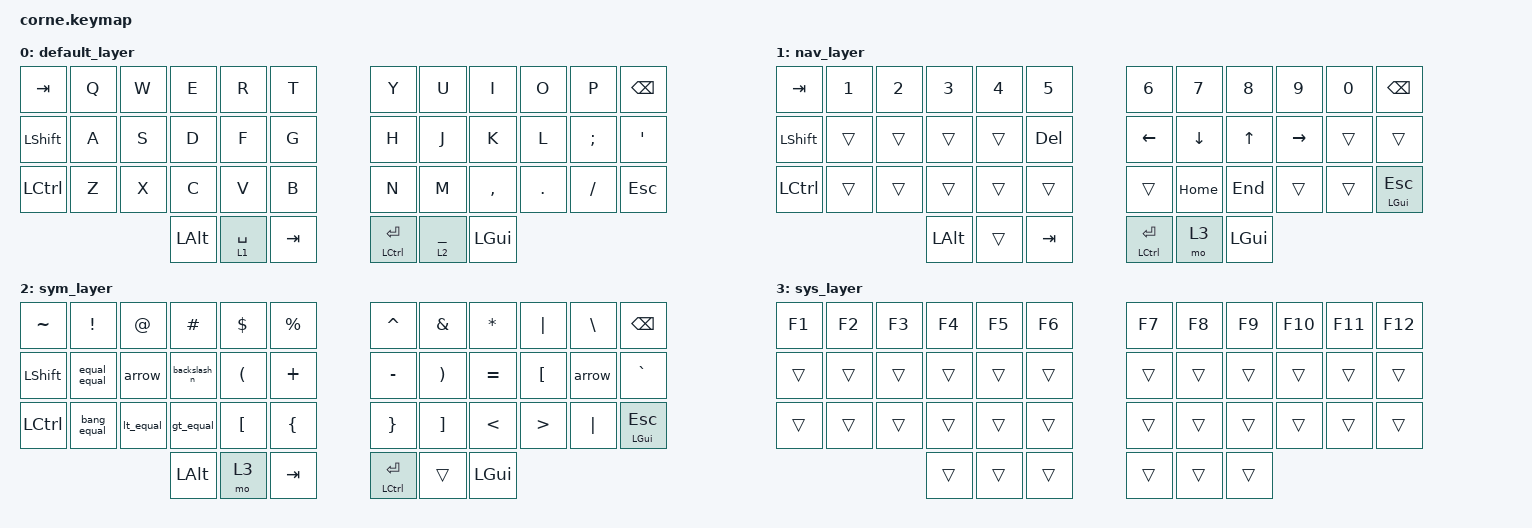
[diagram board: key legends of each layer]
#include <behaviors.dtsi>
#include <dt-bindings/zmk/keys.h>

/ {
    macros {
        arrow: arrow {
            compatible = "zmk,behavior-macro";
            #binding-cells = <0>;
            bindings = <&kp EQUAL &kp GT>;
        };

        backslash_n: backslash_n {
            compatible = "zmk,behavior-macro";
            #binding-cells = <0>;
            bindings = <&kp BACKSLASH &kp N>;
            label = "BACKSLASH_N";
        };

        equal_equal: equal_equal {
            compatible = "zmk,behavior-macro";
            #binding-cells = <0>;
            bindings = <&kp EQUAL &kp EQUAL>;
            label = "EQUAL_EQUAL";
        };

        bang_equal: bang_equal {
            compatible = "zmk,behavior-macro";
            #binding-cells = <0>;
            bindings = <&kp EXCLAMATION &kp EQUAL>;
            label = "BANG_EQUAL";
        };

        gt_equal: gt_equal {
            compatible = "zmk,behavior-macro";
            #binding-cells = <0>;
            bindings = <&kp GREATER_THAN &kp EQUAL>;
            label = "GT_EQUAL";
        };

        lt_equal: lt_equal {
            compatible = "zmk,behavior-macro";
            #binding-cells = <0>;
            bindings = <&kp LESS_THAN &kp EQUAL>;
            label = "LT_EQUAL";
        };
    };

    keymap {
        compatible = "zmk,keymap";

        default_layer {
            bindings = <
&kp TAB     &kp Q  &kp W  &kp E         &kp R        &kp T      &kp Y          &kp U             &kp I         &kp O    &kp P     &kp BSPC
&kp LSHIFT  &kp A  &kp S  &kp D         &kp F        &kp G      &kp H          &kp J             &kp K         &kp L    &kp SEMI  &kp SQT
&kp LCTRL   &kp Z  &kp X  &kp C         &kp V        &kp B      &kp N          &kp M             &kp COMMA     &kp DOT  &kp FSLH  &kp ESC
                          &kp LEFT_ALT  &lt 1 SPACE  &kp TAB    &mt LCTRL RET  &lt 2 UNDERSCORE  &kp LEFT_GUI
            >;
        };

        nav_layer {
            bindings = <
&kp TAB     &kp N1  &kp N2  &kp N3    &kp N4  &kp N5     &kp N6         &kp N7    &kp N8        &kp N9     &kp N0  &kp BACKSPACE
&kp LSHIFT  &trans  &trans  &trans    &trans  &kp DEL    &kp LEFT       &kp DOWN  &kp UP        &kp RIGHT  &trans  &trans
&kp LCTRL   &trans  &trans  &trans    &trans  &trans     &trans         &kp HOME  &kp END       &trans     &trans  &mt LGUI ESC
                            &kp LALT  &trans  &kp TAB    &mt LCTRL RET  &mo 3     &kp LEFT_GUI
            >;
        };

        sym_layer {
            bindings = <
&kp TILDE  &kp EXCL      &kp AT     &kp HASH      &kp DLLR              &kp PRCNT         &kp CARET        &kp AMPS               &kp ASTRK      &kp PIPE          &kp BACKSLASH  &kp BACKSPACE
&kp LSHFT  &equal_equal  &arrow     &backslash_n  &kp LEFT_PARENTHESIS  &kp PLUS          &kp MINUS        &kp RIGHT_PARENTHESIS  &kp EQUAL      &kp LEFT_BRACKET  &arrow         &kp GRAVE
&kp LCTRL  &bang_equal   &lt_equal  &gt_equal     &kp LEFT_BRACKET      &kp LEFT_BRACE    &kp RIGHT_BRACE  &kp RIGHT_BRACKET      &kp LESS_THAN  &kp GREATER_THAN  &kp PIPE       &mt LGUI ESC
                                    &kp LEFT_ALT  &mo 3                 &kp TAB           &mt LCTRL RET    &trans                 &kp LEFT_GUI
            >;
        };

        sys_layer {
            bindings = <
&kp F1  &kp F2  &kp F3  &kp F4  &kp F5  &kp F6    &kp F7  &kp F8  &kp F9  &kp F10  &kp F11  &kp F12
&trans  &trans  &trans  &trans  &trans  &trans    &trans  &trans  &trans  &trans   &trans   &trans
&trans  &trans  &trans  &trans  &trans  &trans    &trans  &trans  &trans  &trans   &trans   &trans
                        &trans  &trans  &trans    &trans  &trans  &trans
            >;
        };
    };
};
